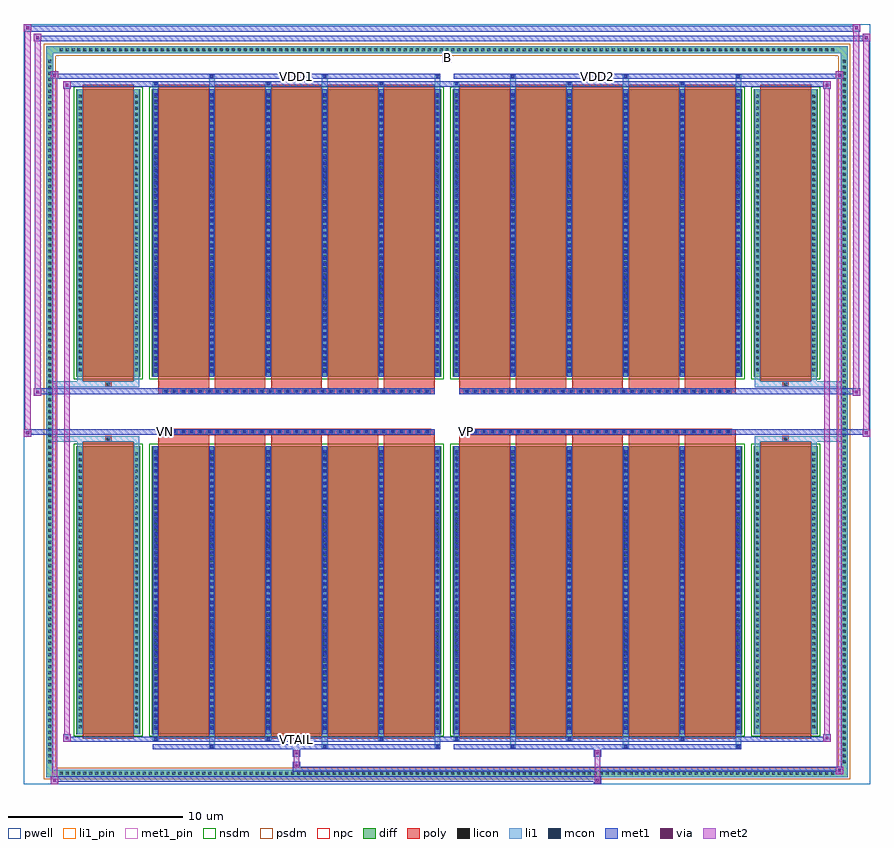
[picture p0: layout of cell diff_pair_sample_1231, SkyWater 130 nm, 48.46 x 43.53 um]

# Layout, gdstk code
import gdstk
lib = gdstk.Library(unit=1e-6, precision=5e-09)
def R(c, l, rs):  # rectangles x0, y0, x1, y1
    for r in rs: c.add(gdstk.rectangle(r[:2], r[2:], *l))
def A(c, l, x, y, w, h, nx, ny, dx, dy):  # array of equal rectangles
    R(c, l, [(x+i*dx, y+j*dy, x+i*dx+w, y+j*dy+h) for i in range(nx) for j in range(ny)])
def P(c, l, *ps):  # polygons
    for p in ps: c.add(gdstk.Polygon(p, *l))
pwell = (64, 44)
diff = (65, 20)
poly = (66, 20)
licon = (66, 44)
li1_pin = (67, 16)
li1 = (67, 20)
mcon = (67, 44)
met1_pin = (68, 16)
met1 = (68, 20)
via = (68, 44)
met2 = (69, 20)
nsdm = (93, 44)
psdm = (94, 20)
npc = (95, 20)

diff_pair_sample_1231 = lib.new_cell('diff_pair_sample_1231')
R(diff_pair_sample_1231, pwell, [(-24.23,-21.33,24.23,22.2), (-21.55,-19.52,-0.01,-0.8), (0.01,-19.52,21.55,-0.8), (-21.55,0.8,-0.01,19.52), (0.01,0.8,21.55,19.52)])
A(diff_pair_sample_1231, diff, -22.305, -20.93, 0.41, 0.41, 131, 2, 0.34, 41.45)
A(diff_pair_sample_1231, diff, -22.96, -20.265, 0.41, 0.41, 1, 119, 0, 0.34)
A(diff_pair_sample_1231, diff, 22.55, -20.265, 0.41, 0.41, 1, 119, 0, 0.34)
R(diff_pair_sample_1231, diff, [(-22.305,-20.93,22.305,-20.52), (-22.96,-20.265,-22.55,20.265), (22.55,-20.265,22.96,20.265), (-21.24,-18.475,-17.56,-1.985), (-16.92,-18.475,-0.32,-1.985), (0.32,-18.475,16.92,-1.985), (17.56,-18.475,21.24,-1.985), (-21.24,1.985,-17.56,18.475), (-16.92,1.985,-0.32,18.475), (0.32,1.985,16.92,18.475), (17.56,1.985,21.24,18.475), (-22.305,20.52,22.305,20.93)])
P(diff_pair_sample_1231, diff, [(22.96,20.93),(-22.96,20.93),(-22.96,-20.52),(-22.55,-20.52),(-22.55,20.52),(22.55,20.52),(22.55,-20.52),(-22.55,-20.52),(-22.96,-20.52),(-22.96,-20.93),(22.96,-20.93)])
A(diff_pair_sample_1231, poly, -16.53, -18.725, 2.9, 16.99, 5, 2, 3.23, 20.46)
A(diff_pair_sample_1231, poly, 0.71, -18.725, 2.9, 16.99, 5, 2, 3.23, 20.46)
A(diff_pair_sample_1231, poly, -16.53, -1.735, 2.9, 0.405, 5, 2, 3.23, 3.065)
A(diff_pair_sample_1231, poly, 0.71, -1.735, 2.9, 0.405, 5, 2, 3.23, 3.065)
A(diff_pair_sample_1231, poly, -16.285, -1.33, 0.33, 0.33, 31, 2, 0.5, 2.33)
A(diff_pair_sample_1231, poly, 0.955, -1.33, 0.33, 0.33, 31, 2, 0.5, 2.33)
R(diff_pair_sample_1231, poly, [(-20.85,-18.725,-17.95,-1.735), (17.95,-18.725,20.85,-1.735), (-19.565,-1.735,-19.235,-1.405), (-19.565,-1.735,-19.235,-1.405), (19.235,-1.735,19.565,-1.405), (19.235,-1.735,19.565,-1.405), (-16.53,-1.33,-0.71,-1), (0.71,-1.33,16.53,-1), (-16.53,1,-0.71,1.33), (0.71,1,16.53,1.33), (-19.565,1.405,-19.235,1.735), (-19.565,1.405,-19.235,1.735), (19.235,1.405,19.565,1.735), (19.235,1.405,19.565,1.735), (-20.85,1.735,-17.95,18.725), (17.95,1.735,20.85,18.725)])
A(diff_pair_sample_1231, licon, -22.185, -20.81, 0.17, 0.17, 131, 2, 0.34, 41.45)
A(diff_pair_sample_1231, licon, -22.84, -20.145, 0.17, 0.17, 1, 119, 0, 0.34)
A(diff_pair_sample_1231, licon, 22.67, -20.145, 0.17, 0.17, 1, 119, 0, 0.34)
A(diff_pair_sample_1231, licon, -21.1, -18.135, 0.17, 0.17, 1, 47, 0, 0.34)
A(diff_pair_sample_1231, licon, -17.87, -18.135, 0.17, 0.17, 1, 47, 0, 0.34)
A(diff_pair_sample_1231, licon, -16.78, -18.135, 0.17, 0.17, 6, 47, 3.23, 0.34)
A(diff_pair_sample_1231, licon, 0.46, -18.135, 0.17, 0.17, 6, 47, 3.23, 0.34)
A(diff_pair_sample_1231, licon, 17.7, -18.135, 0.17, 0.17, 1, 47, 0, 0.34)
A(diff_pair_sample_1231, licon, 20.93, -18.135, 0.17, 0.17, 1, 47, 0, 0.34)
A(diff_pair_sample_1231, licon, -16.205, -1.25, 0.17, 0.17, 31, 2, 0.5, 2.33)
A(diff_pair_sample_1231, licon, 1.035, -1.25, 0.17, 0.17, 31, 2, 0.5, 2.33)
A(diff_pair_sample_1231, licon, -21.1, 2.325, 0.17, 0.17, 1, 47, 0, 0.34)
A(diff_pair_sample_1231, licon, -17.87, 2.325, 0.17, 0.17, 1, 47, 0, 0.34)
A(diff_pair_sample_1231, licon, -16.78, 2.325, 0.17, 0.17, 6, 47, 3.23, 0.34)
A(diff_pair_sample_1231, licon, 0.46, 2.325, 0.17, 0.17, 6, 47, 3.23, 0.34)
A(diff_pair_sample_1231, licon, 17.7, 2.325, 0.17, 0.17, 1, 47, 0, 0.34)
A(diff_pair_sample_1231, licon, 20.93, 2.325, 0.17, 0.17, 1, 47, 0, 0.34)
R(diff_pair_sample_1231, licon, [(-19.485,-1.655,-19.315,-1.485), (19.315,-1.655,19.485,-1.485), (-19.485,1.485,-19.315,1.655), (19.315,1.485,19.485,1.655)])
R(diff_pair_sample_1231, li1_pin, [(-0.25,20.02,0.25,20.52)])
A(diff_pair_sample_1231, li1, -22.265, -20.89, 0.33, 0.33, 131, 2, 0.34, 41.45)
A(diff_pair_sample_1231, li1, -22.92, -20.225, 0.33, 0.33, 1, 119, 0, 0.34)
A(diff_pair_sample_1231, li1, 22.59, -20.225, 0.33, 0.33, 1, 119, 0, 0.34)
A(diff_pair_sample_1231, li1, -13.63, -19.28, 0.33, 0.805, 3, 2, 6.46, 37.755)
A(diff_pair_sample_1231, li1, -13.55, -19.28, 0.17, 0.17, 3, 2, 6.46, 38.39)
A(diff_pair_sample_1231, li1, 3.61, -19.28, 0.33, 0.805, 3, 2, 6.46, 37.755)
A(diff_pair_sample_1231, li1, 3.69, -19.28, 0.17, 0.17, 3, 2, 6.46, 38.39)
A(diff_pair_sample_1231, li1, -16.86, -18.85, 0.33, 0.375, 3, 2, 6.46, 37.325)
A(diff_pair_sample_1231, li1, -16.78, -18.85, 0.17, 0.17, 3, 2, 6.46, 37.53)
A(diff_pair_sample_1231, li1, 0.38, -18.85, 0.33, 0.375, 3, 2, 6.46, 37.325)
A(diff_pair_sample_1231, li1, 0.46, -18.85, 0.17, 0.17, 3, 2, 6.46, 37.53)
A(diff_pair_sample_1231, li1, -16.86, -18.475, 0.33, 16.49, 6, 2, 3.23, 20.46)
A(diff_pair_sample_1231, li1, 0.38, -18.475, 0.33, 16.49, 6, 2, 3.23, 20.46)
A(diff_pair_sample_1231, li1, -16.78, -18.235, 0.17, 0.17, 6, 45, 3.23, 0.36)
A(diff_pair_sample_1231, li1, -16.78, -18.235, 0.17, 16.01, 6, 2, 3.23, 20.46)
A(diff_pair_sample_1231, li1, 0.46, -18.235, 0.17, 0.17, 6, 45, 3.23, 0.36)
A(diff_pair_sample_1231, li1, 0.46, -18.235, 0.17, 16.01, 6, 2, 3.23, 20.46)
A(diff_pair_sample_1231, li1, -21.18, -18.215, 0.33, 0.33, 1, 47, 0, 0.34)
A(diff_pair_sample_1231, li1, -17.95, -18.215, 0.33, 0.33, 1, 47, 0, 0.34)
A(diff_pair_sample_1231, li1, -16.86, -18.215, 0.33, 0.33, 6, 47, 3.23, 0.34)
A(diff_pair_sample_1231, li1, 0.38, -18.215, 0.33, 0.33, 6, 47, 3.23, 0.34)
A(diff_pair_sample_1231, li1, 17.62, -18.215, 0.33, 0.33, 1, 47, 0, 0.34)
A(diff_pair_sample_1231, li1, 20.85, -18.215, 0.33, 0.33, 1, 47, 0, 0.34)
A(diff_pair_sample_1231, li1, -16.285, -1.33, 0.33, 0.33, 31, 2, 0.5, 2.33)
A(diff_pair_sample_1231, li1, 0.955, -1.33, 0.33, 0.33, 31, 2, 0.5, 2.33)
A(diff_pair_sample_1231, li1, -16.78, 2.225, 0.17, 0.17, 6, 45, 3.23, 0.36)
A(diff_pair_sample_1231, li1, 0.46, 2.225, 0.17, 0.17, 6, 45, 3.23, 0.36)
A(diff_pair_sample_1231, li1, -21.18, 2.245, 0.33, 0.33, 1, 47, 0, 0.34)
A(diff_pair_sample_1231, li1, -17.95, 2.245, 0.33, 0.33, 1, 47, 0, 0.34)
A(diff_pair_sample_1231, li1, -16.86, 2.245, 0.33, 0.33, 6, 47, 3.23, 0.34)
A(diff_pair_sample_1231, li1, 0.38, 2.245, 0.33, 0.33, 6, 47, 3.23, 0.34)
A(diff_pair_sample_1231, li1, 17.62, 2.245, 0.33, 0.33, 1, 47, 0, 0.34)
A(diff_pair_sample_1231, li1, 20.85, 2.245, 0.33, 0.33, 1, 47, 0, 0.34)
R(diff_pair_sample_1231, li1, [(-22.96,-20.93,-22.55,-20.52), (-22.96,-20.93,-22.55,-20.52), (-22.55,-20.93,22.55,-20.52), (22.55,-20.93,22.96,-20.52), (22.55,-20.93,22.96,-20.52), (-22.96,-20.52,-22.55,20.52), (22.55,-20.52,22.96,20.52), (-21.18,-18.475,-20.85,-1.985), (-17.95,-18.475,-17.62,-1.985), (17.62,-18.475,17.95,-1.985), (20.85,-18.475,21.18,-1.985), (-21.18,-1.985,-20.85,-1.405), (-17.95,-1.985,-17.62,-1.405), (17.62,-1.985,17.95,-1.405), (20.85,-1.985,21.18,-1.405), (-22.96,-1.735,-19.565,-1.405), (-21.18,-1.735,-19.565,-1.405), (-19.565,-1.735,-19.235,-1.405), (-19.235,-1.735,-17.62,-1.405), (17.62,-1.735,19.235,-1.405), (19.235,-1.735,19.565,-1.405), (19.235,-1.735,22.96,-1.405), (19.565,-1.735,21.18,-1.405), (-22.96,1.405,-19.565,1.735), (-21.18,1.405,-19.565,1.735), (-21.18,1.405,-20.85,1.985), (-19.565,1.405,-19.235,1.735), (-19.235,1.405,-17.62,1.735), (-17.95,1.405,-17.62,1.985), (17.62,1.405,19.235,1.735), (17.62,1.405,17.95,1.985), (19.235,1.405,19.565,1.735), (19.235,1.405,22.96,1.735), (19.565,1.405,21.18,1.735), (20.85,1.405,21.18,1.985), (-21.18,1.985,-20.85,18.475), (-17.95,1.985,-17.62,18.475), (17.62,1.985,17.95,18.475), (20.85,1.985,21.18,18.475), (-22.96,20.52,-22.55,20.93), (-22.96,20.52,-22.55,20.93), (-22.55,20.52,22.55,20.93), (22.55,20.52,22.96,20.93), (22.55,20.52,22.96,20.93)])
A(diff_pair_sample_1231, mcon, -13.55, -19.28, 0.17, 0.17, 3, 2, 6.46, 38.39)
A(diff_pair_sample_1231, mcon, 3.69, -19.28, 0.17, 0.17, 3, 2, 6.46, 38.39)
A(diff_pair_sample_1231, mcon, -16.78, -18.85, 0.17, 0.17, 3, 2, 6.46, 37.53)
A(diff_pair_sample_1231, mcon, 0.46, -18.85, 0.17, 0.17, 3, 2, 6.46, 37.53)
A(diff_pair_sample_1231, mcon, -16.78, -18.235, 0.17, 0.17, 6, 45, 3.23, 0.36)
A(diff_pair_sample_1231, mcon, 0.46, -18.235, 0.17, 0.17, 6, 45, 3.23, 0.36)
A(diff_pair_sample_1231, mcon, -16.205, -1.25, 0.17, 0.17, 31, 2, 0.5, 2.33)
A(diff_pair_sample_1231, mcon, 1.035, -1.25, 0.17, 0.17, 31, 2, 0.5, 2.33)
A(diff_pair_sample_1231, mcon, -16.78, 2.225, 0.17, 0.17, 6, 45, 3.23, 0.36)
A(diff_pair_sample_1231, mcon, 0.46, 2.225, 0.17, 0.17, 6, 45, 3.23, 0.36)
R(diff_pair_sample_1231, met1_pin, [(-8.755,-18.89,-8.485,-18.62), (-16.255,-1.29,-15.985,-1.02), (0.985,-1.29,1.255,-1.02), (-8.755,19.07,-8.485,19.34), (8.485,19.07,8.755,19.34)])
A(diff_pair_sample_1231, met1, -13.61, -19.34, 0.29, 0.29, 3, 2, 6.46, 38.39)
A(diff_pair_sample_1231, met1, 3.63, -19.34, 0.29, 0.29, 3, 2, 6.46, 38.39)
A(diff_pair_sample_1231, met1, -16.84, -18.91, 0.29, 0.29, 3, 2, 6.46, 37.53)
A(diff_pair_sample_1231, met1, 0.4, -18.91, 0.29, 0.29, 3, 2, 6.46, 37.53)
A(diff_pair_sample_1231, met1, -16.84, -18.475, 0.29, 16.49, 6, 2, 3.23, 20.46)
A(diff_pair_sample_1231, met1, 0.4, -18.475, 0.29, 16.49, 6, 2, 3.23, 20.46)
A(diff_pair_sample_1231, met1, -16.84, -18.295, 0.29, 0.29, 6, 45, 3.23, 0.36)
A(diff_pair_sample_1231, met1, 0.4, -18.295, 0.29, 0.29, 6, 45, 3.23, 0.36)
A(diff_pair_sample_1231, met1, -16.265, -1.31, 0.29, 0.29, 31, 2, 0.5, 2.33)
A(diff_pair_sample_1231, met1, 0.975, -1.31, 0.29, 0.29, 31, 2, 0.5, 2.33)
A(diff_pair_sample_1231, met1, -16.84, 2.165, 0.29, 0.29, 6, 45, 3.23, 0.36)
A(diff_pair_sample_1231, met1, 0.4, 2.165, 0.29, 0.29, 6, 45, 3.23, 0.36)
R(diff_pair_sample_1231, met1, [(-22.69,-21.33,-22.26,-20.9), (8.405,-21.33,8.835,-20.9), (-22.69,-21.19,8.835,-20.9), (22.26,-20.76,22.69,-20.33), (-8.835,-20.62,22.69,-20.33), (-8.835,-20.48,-8.405,-20.05), (-8.835,-19.77,-8.405,-19.34), (8.405,-19.77,8.835,-19.34), (-16.84,-19.34,-0.4,-19.05), (0.4,-19.34,16.84,-19.05), (-21.98,-18.91,-21.55,-18.48), (-21.98,-18.91,-16.84,-18.62), (-16.84,-18.91,-0.4,-18.62), (-0.4,-18.91,0.4,-18.62), (0.4,-18.91,16.84,-18.62), (16.84,-18.91,21.98,-18.62), (21.55,-18.91,21.98,-18.48), (-24.23,-1.43,-23.8,-1), (23.8,-1.43,24.23,-1), (-24.23,-1.33,-0.71,-1), (-16.53,-1.33,-0.71,-1), (0.71,-1.33,16.53,-1), (0.71,-1.33,24.23,-1), (-23.66,0.9,-23.23,1.33), (23.23,0.9,23.66,1.33), (-23.66,1,-16.53,1.33), (-16.53,1,-0.71,1.33), (0.71,1,16.53,1.33), (16.53,1,23.66,1.33), (-21.98,18.48,-21.55,18.91), (21.55,18.48,21.98,18.91), (-21.98,18.62,-16.84,18.91), (-16.84,18.62,-0.4,18.91), (-0.4,18.62,0.4,18.91), (0.4,18.62,16.84,18.91), (16.84,18.62,21.98,18.91), (-22.69,19.05,-22.26,19.48), (-22.69,19.05,-16.84,19.34), (-16.84,19.05,-0.4,19.34), (0.4,19.05,16.84,19.34), (16.84,19.05,22.69,19.34), (22.26,19.05,22.69,19.48), (-23.66,21.2,-23.23,21.63), (-23.66,21.2,-21.55,21.53), (-21.55,21.2,21.55,21.53), (21.55,21.2,24.23,21.53), (23.8,21.2,24.23,21.63), (-24.23,21.77,-23.8,22.2), (-24.23,21.77,-21.55,22.1), (-21.55,21.77,21.55,22.1), (21.55,21.77,23.66,22.1), (23.23,21.77,23.66,22.2)])
R(diff_pair_sample_1231, via, [(-22.55,-21.19,-22.4,-21.04), (8.545,-21.19,8.695,-21.04), (22.4,-20.62,22.55,-20.47), (-8.695,-20.34,-8.545,-20.19), (-8.695,-19.63,-8.545,-19.48), (8.545,-19.63,8.695,-19.48), (-21.84,-18.77,-21.69,-18.62), (21.69,-18.77,21.84,-18.62), (-24.09,-1.29,-23.94,-1.14), (23.94,-1.29,24.09,-1.14), (-23.52,1.04,-23.37,1.19), (23.37,1.04,23.52,1.19), (-21.84,18.62,-21.69,18.77), (21.69,18.62,21.84,18.77), (-22.55,19.19,-22.4,19.34), (22.4,19.19,22.55,19.34), (-23.52,21.34,-23.37,21.49), (23.94,21.34,24.09,21.49), (-24.09,21.91,-23.94,22.06), (23.37,21.91,23.52,22.06)])
R(diff_pair_sample_1231, met2, [(-22.69,-21.33,-22.26,-20.9), (-22.62,-21.33,-22.33,19.48), (-22.33,-21.33,-22.26,-20.9), (-22.64,-21.28,-22.31,-20.95), (8.455,-21.28,8.785,-20.95), (8.455,-20.95,8.785,-19.72), (22.26,-20.76,22.69,-20.33), (22.33,-20.76,22.62,19.48), (22.62,-20.76,22.69,-20.33), (22.31,-20.71,22.64,-20.38), (-8.785,-20.43,-8.455,-20.1), (-8.785,-20.1,-8.455,-19.72), (-8.785,-19.72,-8.455,-19.39), (8.455,-19.72,8.785,-19.39), (-21.98,-18.91,-21.55,-18.48), (-21.91,-18.91,-21.62,18.91), (-21.62,-18.91,-21.55,-18.48), (21.55,-18.91,21.98,-18.48), (21.62,-18.91,21.91,18.91), (21.91,-18.91,21.98,-18.48), (-21.93,-18.86,-21.6,-18.53), (21.6,-18.86,21.93,-18.53), (-24.23,-1.43,-23.8,-1), (-24.18,-1.43,-23.85,22.2), (-23.85,-1.43,-23.8,-1), (23.8,-1.43,24.23,-1), (23.85,-1.43,24.18,21.63), (24.18,-1.43,24.23,-1), (-24.18,-1.38,-23.85,-1.05), (23.85,-1.38,24.18,-1.05), (-23.66,0.9,-23.23,1.33), (-23.61,0.9,-23.28,21.63), (-23.28,0.9,-23.23,1.33), (23.23,0.9,23.66,1.33), (23.28,0.9,23.61,22.2), (23.61,0.9,23.66,1.33), (-23.61,0.95,-23.28,1.28), (23.28,0.95,23.61,1.28), (-21.98,18.48,-21.55,18.91), (-21.62,18.48,-21.55,18.91), (21.55,18.48,21.98,18.91), (21.91,18.48,21.98,18.91), (-21.93,18.53,-21.6,18.86), (21.6,18.53,21.93,18.86), (-22.69,19.05,-22.26,19.48), (-22.33,19.05,-22.26,19.48), (22.26,19.05,22.69,19.48), (22.62,19.05,22.69,19.48), (-22.64,19.1,-22.31,19.43), (22.31,19.1,22.64,19.43), (-23.66,21.2,-23.23,21.63), (-23.28,21.2,-23.23,21.63), (23.8,21.2,24.23,21.63), (24.18,21.2,24.23,21.63), (-23.61,21.25,-23.28,21.58), (23.85,21.25,24.18,21.58), (-24.23,21.77,-23.8,22.2), (-23.85,21.77,-23.8,22.2), (23.23,21.77,23.66,22.2), (23.61,21.77,23.66,22.2), (-24.18,21.82,-23.85,22.15), (23.28,21.82,23.61,22.15)])
R(diff_pair_sample_1231, nsdm, [(-21.37,-18.605,-17.43,-1.855), (-17.05,-18.605,-0.19,-1.855), (0.19,-18.605,17.05,-1.855), (17.43,-18.605,21.37,-1.855), (-21.37,1.855,-17.43,18.605), (-17.05,1.855,-0.19,18.605), (0.19,1.855,17.05,18.605), (17.43,1.855,21.37,18.605)])
P(diff_pair_sample_1231, psdm, [(23.09,21.06),(-23.09,21.06),(-23.09,-20.39),(-22.42,-20.39),(-22.42,20.39),(22.42,20.39),(22.42,-20.39),(-22.42,-20.39),(-23.09,-20.39),(-23.09,-21.06),(23.09,-21.06)])
A(diff_pair_sample_1231, npc, -16.305, -1.35, 0.37, 0.37, 31, 2, 0.5, 2.33)
A(diff_pair_sample_1231, npc, 0.935, -1.35, 0.37, 0.37, 31, 2, 0.5, 2.33)
R(diff_pair_sample_1231, npc, [(-19.585,-1.755,-19.215,-1.385), (19.215,-1.755,19.585,-1.385), (-16.305,-1.35,-15.435,-0.98), (-16.305,-1.35,-15.435,-0.98), (-15.805,-1.35,-14.935,-0.98), (-15.805,-1.35,-14.935,-0.98), (-15.305,-1.35,-14.435,-0.98), (-15.305,-1.35,-14.435,-0.98), (-14.805,-1.35,-13.935,-0.98), (-14.805,-1.35,-13.935,-0.98), (-14.305,-1.35,-13.435,-0.98), (-14.305,-1.35,-13.435,-0.98), (-13.805,-1.35,-12.935,-0.98), (-13.805,-1.35,-12.935,-0.98), (-13.305,-1.35,-12.435,-0.98), (-13.305,-1.35,-12.435,-0.98), (-12.805,-1.35,-11.935,-0.98), (-12.805,-1.35,-11.935,-0.98), (-12.305,-1.35,-11.435,-0.98), (-12.305,-1.35,-11.435,-0.98), (-11.805,-1.35,-10.935,-0.98), (-11.805,-1.35,-10.935,-0.98), (-11.305,-1.35,-10.435,-0.98), (-11.305,-1.35,-10.435,-0.98), (-10.805,-1.35,-9.935,-0.98), (-10.805,-1.35,-9.935,-0.98), (-10.305,-1.35,-9.435,-0.98), (-10.305,-1.35,-9.435,-0.98), (-9.805,-1.35,-8.935,-0.98), (-9.805,-1.35,-8.935,-0.98), (-9.305,-1.35,-8.435,-0.98), (-9.305,-1.35,-8.435,-0.98), (-8.805,-1.35,-7.935,-0.98), (-8.805,-1.35,-7.935,-0.98), (-8.305,-1.35,-7.435,-0.98), (-8.305,-1.35,-7.435,-0.98), (-7.805,-1.35,-6.935,-0.98), (-7.805,-1.35,-6.935,-0.98), (-7.305,-1.35,-6.435,-0.98), (-7.305,-1.35,-6.435,-0.98), (-6.805,-1.35,-5.935,-0.98), (-6.805,-1.35,-5.935,-0.98), (-6.305,-1.35,-5.435,-0.98), (-6.305,-1.35,-5.435,-0.98), (-5.805,-1.35,-4.935,-0.98), (-5.805,-1.35,-4.935,-0.98), (-5.305,-1.35,-4.435,-0.98), (-5.305,-1.35,-4.435,-0.98), (-4.805,-1.35,-3.935,-0.98), (-4.805,-1.35,-3.935,-0.98), (-4.305,-1.35,-3.435,-0.98), (-4.305,-1.35,-3.435,-0.98), (-3.805,-1.35,-2.935,-0.98), (-3.805,-1.35,-2.935,-0.98), (-3.305,-1.35,-2.435,-0.98), (-3.305,-1.35,-2.435,-0.98), (-2.805,-1.35,-1.935,-0.98), (-2.805,-1.35,-1.935,-0.98), (-2.305,-1.35,-1.435,-0.98), (-2.305,-1.35,-1.435,-0.98), (-1.805,-1.35,-0.935,-0.98), (-1.805,-1.35,-0.935,-0.98), (0.935,-1.35,1.805,-0.98), (0.935,-1.35,1.805,-0.98), (1.435,-1.35,2.305,-0.98), (1.435,-1.35,2.305,-0.98), (1.935,-1.35,2.805,-0.98), (1.935,-1.35,2.805,-0.98), (2.435,-1.35,3.305,-0.98), (2.435,-1.35,3.305,-0.98), (2.935,-1.35,3.805,-0.98), (2.935,-1.35,3.805,-0.98), (3.435,-1.35,4.305,-0.98), (3.435,-1.35,4.305,-0.98), (3.935,-1.35,4.805,-0.98), (3.935,-1.35,4.805,-0.98), (4.435,-1.35,5.305,-0.98), (4.435,-1.35,5.305,-0.98), (4.935,-1.35,5.805,-0.98), (4.935,-1.35,5.805,-0.98), (5.435,-1.35,6.305,-0.98), (5.435,-1.35,6.305,-0.98), (5.935,-1.35,6.805,-0.98), (5.935,-1.35,6.805,-0.98), (6.435,-1.35,7.305,-0.98), (6.435,-1.35,7.305,-0.98), (6.935,-1.35,7.805,-0.98), (6.935,-1.35,7.805,-0.98), (7.435,-1.35,8.305,-0.98), (7.435,-1.35,8.305,-0.98), (7.935,-1.35,8.805,-0.98), (7.935,-1.35,8.805,-0.98), (8.435,-1.35,9.305,-0.98), (8.435,-1.35,9.305,-0.98), (8.935,-1.35,9.805,-0.98), (8.935,-1.35,9.805,-0.98), (9.435,-1.35,10.305,-0.98), (9.435,-1.35,10.305,-0.98), (9.935,-1.35,10.805,-0.98), (9.935,-1.35,10.805,-0.98), (10.435,-1.35,11.305,-0.98), (10.435,-1.35,11.305,-0.98), (10.935,-1.35,11.805,-0.98), (10.935,-1.35,11.805,-0.98), (11.435,-1.35,12.305,-0.98), (11.435,-1.35,12.305,-0.98), (11.935,-1.35,12.805,-0.98), (11.935,-1.35,12.805,-0.98), (12.435,-1.35,13.305,-0.98), (12.435,-1.35,13.305,-0.98), (12.935,-1.35,13.805,-0.98), (12.935,-1.35,13.805,-0.98), (13.435,-1.35,14.305,-0.98), (13.435,-1.35,14.305,-0.98), (13.935,-1.35,14.805,-0.98), (13.935,-1.35,14.805,-0.98), (14.435,-1.35,15.305,-0.98), (14.435,-1.35,15.305,-0.98), (14.935,-1.35,15.805,-0.98), (14.935,-1.35,15.805,-0.98), (15.435,-1.35,16.305,-0.98), (15.435,-1.35,16.305,-0.98), (-16.305,0.98,-15.435,1.35), (-16.305,0.98,-15.435,1.35), (-15.805,0.98,-14.935,1.35), (-15.805,0.98,-14.935,1.35), (-15.305,0.98,-14.435,1.35), (-15.305,0.98,-14.435,1.35), (-14.805,0.98,-13.935,1.35), (-14.805,0.98,-13.935,1.35), (-14.305,0.98,-13.435,1.35), (-14.305,0.98,-13.435,1.35), (-13.805,0.98,-12.935,1.35), (-13.805,0.98,-12.935,1.35), (-13.305,0.98,-12.435,1.35), (-13.305,0.98,-12.435,1.35), (-12.805,0.98,-11.935,1.35), (-12.805,0.98,-11.935,1.35), (-12.305,0.98,-11.435,1.35), (-12.305,0.98,-11.435,1.35), (-11.805,0.98,-10.935,1.35), (-11.805,0.98,-10.935,1.35), (-11.305,0.98,-10.435,1.35), (-11.305,0.98,-10.435,1.35), (-10.805,0.98,-9.935,1.35), (-10.805,0.98,-9.935,1.35), (-10.305,0.98,-9.435,1.35), (-10.305,0.98,-9.435,1.35), (-9.805,0.98,-8.935,1.35), (-9.805,0.98,-8.935,1.35), (-9.305,0.98,-8.435,1.35), (-9.305,0.98,-8.435,1.35), (-8.805,0.98,-7.935,1.35), (-8.805,0.98,-7.935,1.35), (-8.305,0.98,-7.435,1.35), (-8.305,0.98,-7.435,1.35), (-7.805,0.98,-6.935,1.35), (-7.805,0.98,-6.935,1.35), (-7.305,0.98,-6.435,1.35), (-7.305,0.98,-6.435,1.35), (-6.805,0.98,-5.935,1.35), (-6.805,0.98,-5.935,1.35), (-6.305,0.98,-5.435,1.35), (-6.305,0.98,-5.435,1.35), (-5.805,0.98,-4.935,1.35), (-5.805,0.98,-4.935,1.35), (-5.305,0.98,-4.435,1.35), (-5.305,0.98,-4.435,1.35), (-4.805,0.98,-3.935,1.35), (-4.805,0.98,-3.935,1.35), (-4.305,0.98,-3.435,1.35), (-4.305,0.98,-3.435,1.35), (-3.805,0.98,-2.935,1.35), (-3.805,0.98,-2.935,1.35), (-3.305,0.98,-2.435,1.35), (-3.305,0.98,-2.435,1.35), (-2.805,0.98,-1.935,1.35), (-2.805,0.98,-1.935,1.35), (-2.305,0.98,-1.435,1.35), (-2.305,0.98,-1.435,1.35), (-1.805,0.98,-0.935,1.35), (-1.805,0.98,-0.935,1.35), (0.935,0.98,1.805,1.35), (0.935,0.98,1.805,1.35), (1.435,0.98,2.305,1.35), (1.435,0.98,2.305,1.35), (1.935,0.98,2.805,1.35), (1.935,0.98,2.805,1.35), (2.435,0.98,3.305,1.35), (2.435,0.98,3.305,1.35), (2.935,0.98,3.805,1.35), (2.935,0.98,3.805,1.35), (3.435,0.98,4.305,1.35), (3.435,0.98,4.305,1.35), (3.935,0.98,4.805,1.35), (3.935,0.98,4.805,1.35), (4.435,0.98,5.305,1.35), (4.435,0.98,5.305,1.35), (4.935,0.98,5.805,1.35), (4.935,0.98,5.805,1.35), (5.435,0.98,6.305,1.35), (5.435,0.98,6.305,1.35), (5.935,0.98,6.805,1.35), (5.935,0.98,6.805,1.35), (6.435,0.98,7.305,1.35), (6.435,0.98,7.305,1.35), (6.935,0.98,7.805,1.35), (6.935,0.98,7.805,1.35), (7.435,0.98,8.305,1.35), (7.435,0.98,8.305,1.35), (7.935,0.98,8.805,1.35), (7.935,0.98,8.805,1.35), (8.435,0.98,9.305,1.35), (8.435,0.98,9.305,1.35), (8.935,0.98,9.805,1.35), (8.935,0.98,9.805,1.35), (9.435,0.98,10.305,1.35), (9.435,0.98,10.305,1.35), (9.935,0.98,10.805,1.35), (9.935,0.98,10.805,1.35), (10.435,0.98,11.305,1.35), (10.435,0.98,11.305,1.35), (10.935,0.98,11.805,1.35), (10.935,0.98,11.805,1.35), (11.435,0.98,12.305,1.35), (11.435,0.98,12.305,1.35), (11.935,0.98,12.805,1.35), (11.935,0.98,12.805,1.35), (12.435,0.98,13.305,1.35), (12.435,0.98,13.305,1.35), (12.935,0.98,13.805,1.35), (12.935,0.98,13.805,1.35), (13.435,0.98,14.305,1.35), (13.435,0.98,14.305,1.35), (13.935,0.98,14.805,1.35), (13.935,0.98,14.805,1.35), (14.435,0.98,15.305,1.35), (14.435,0.98,15.305,1.35), (14.935,0.98,15.805,1.35), (14.935,0.98,15.805,1.35), (15.435,0.98,16.305,1.35), (15.435,0.98,16.305,1.35), (-19.585,1.385,-19.215,1.755), (19.215,1.385,19.585,1.755)])
diff_pair_sample_1231.add(gdstk.Label('VTAIL', (-8.62,-18.755), layer=68, texttype=5))
diff_pair_sample_1231.add(gdstk.Label('VN', (-16.12,-1.155), layer=68, texttype=5))
diff_pair_sample_1231.add(gdstk.Label('VP', (1.12,-1.155), layer=68, texttype=5))
diff_pair_sample_1231.add(gdstk.Label('B', (0,20.27), layer=67, texttype=5))
diff_pair_sample_1231.add(gdstk.Label('VDD2', (8.62,19.205), layer=68, texttype=5))
diff_pair_sample_1231.add(gdstk.Label('VDD1', (-8.62,19.205), layer=68, texttype=5))

lib.write_gds('diff_pair_sample_1231.gds')
